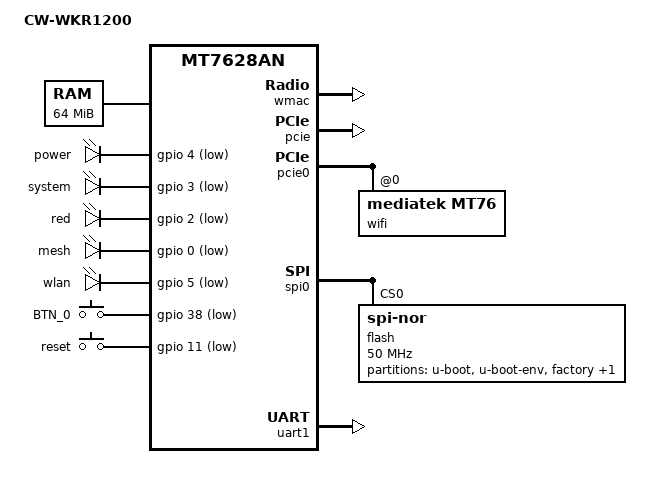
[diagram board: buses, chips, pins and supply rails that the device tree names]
#include "mt7628an.dtsi"

#include <dt-bindings/gpio/gpio.h>
#include <dt-bindings/input/input.h>

/{
	compatible = "combway,cw-wkr1200", "mediatek,mt7628an-soc";
	model = "CW-WKR1200";

	aliases {
		led-boot = &led_power;
		led-failsafe = &led_power;
		led-running = &led_power;
		led-upgrade = &led_power;
		label-mac-device = &ethernet;
	};

	memory@0 {
		device_type = "memory";
		reg = <0x0 0x4000000>;
	};

	chosen {
		bootargs = "console=ttyS0,57600";
	};

	leds {
		compatible = "gpio-leds";

		power {
			label = "power";
			default-state = "on";
			gpios = <&gpio 4 GPIO_ACTIVE_LOW>;
		};

		system {
			label = "system";
			gpios = <&gpio 3 GPIO_ACTIVE_LOW>;
			default-state = "off";
		};

		led_power:red {
			label = "red";
			gpios = <&gpio 2 GPIO_ACTIVE_LOW>;
			default-state = "off";
		};

		mesh {
			label = "mesh";
			gpios = <&gpio 0 GPIO_ACTIVE_LOW>;
			default-state = "off";
		};

		wlan {
			label = "wlan";
			gpios = <&gpio 5 GPIO_ACTIVE_LOW>;
			linux,default-trigger = "phy0tpt";
		};
	};

	keys {
		compatible = "gpio-keys";

		BTN_0 {
			label = "BTN_0";
			gpios = <&gpio 38 GPIO_ACTIVE_LOW>;
			linux,code = <BTN_0>;
		};

		reset {
			label = "reset";
			gpios = <&gpio 11 GPIO_ACTIVE_LOW>;
			linux,code = <KEY_RESTART>;
		};

	};
};

&state_default {
	gpio {
		groups = "wdt", "gpio", "i2s", "i2c";
		function = "gpio";
	};
};

&ethernet {
	nvmem-cells = <&macaddr_factory_4>;
	nvmem-cell-names = "mac-address";
};

&wmac {
	status = "okay";

	mediatek,mtd-eeprom = <&factory 0x0>;
};


&pcie {
	status = "okay";
};

&pcie0 {
	wifi@0,0 {
		compatible = "mediatek,mt76";
		reg = <0x0000 0 0 0 0>;
		mediatek,mtd-eeprom = <&factory 0x8000>;
		ieee80211-freq-limit = <5000000 6000000>;

		led {
			led-sources = <2>;
			led-active-low;
		};
	};
};


&spi0 {
	status = "okay";

	flash@0 {
		compatible = "jedec,spi-nor";
		reg = <0>;
		spi-max-frequency = <50000000>;
		m25p,fast-read;

		partitions {
			compatible = "fixed-partitions";
			#address-cells = <1>;
			#size-cells = <1>;

			partition@0 {
				label = "u-boot";
				reg = <0x0 0x30000>;
				read-only;
			};

			partition@30000 {
				label = "u-boot-env";
				reg = <0x30000 0x10000>;
				read-only;
			};

			factory: partition@40000 {
				label = "factory";
				reg = <0x40000 0x10000>;
			};

			partition@50000 {
				compatible = "denx,uimage";
				label = "firmware";
				reg = <0x50000 0xfb0000>;
			};
		};
	};
};

&uart1 {
	status = "okay";
};

&factory {
	compatible = "nvmem-cells";
	#address-cells = <1>;
	#size-cells = <1>;

	macaddr_factory_4: macaddr@4 {
		reg = <0x4 0x6>;
	};
};

&esw {
	mediatek,portmap = <0x2f>;
};
